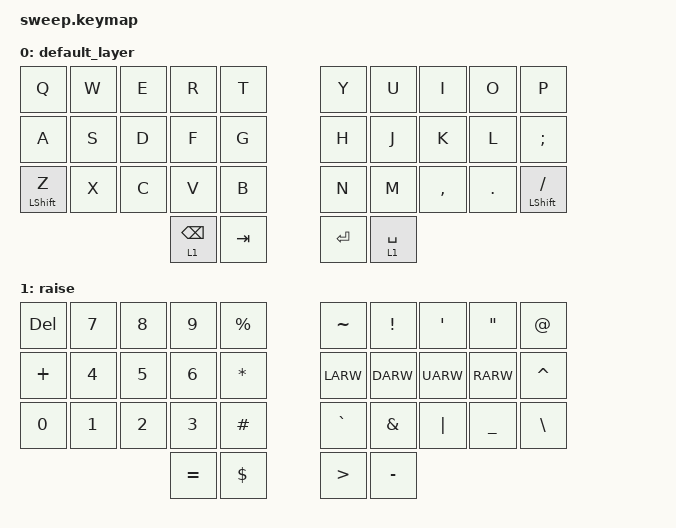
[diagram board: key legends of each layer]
/*
* Copyright (c) 2020 The ZMK Contributors
*
* SPDX-License-Identifier: MIT
*/

#include <behaviors.dtsi>
#include <dt-bindings/zmk/keys.h>
#include <dt-bindings/zmk/bt.h>
#include <dt-bindings/zmk/outputs.h>

&lt { quick_tap_ms = <100>; };

/ {
        combos {
                compatible = "zmk,combos";

                // modifiers
                c_lalt {
                        timeout-ms = <50>;
                        key-positions = <20 21>;
                        bindings = <&sk LALT>;
                };
                c_lgui {
                        timeout-ms = <50>;
                        key-positions = <21 22>;
                        bindings = <&sk LGUI>;
                };
                c_laltgui {
                        timeout-ms = <50>;
                        key-positions = <20 21 22>;
                        bindings = <&sk LA(LGUI)>;
                };
                c_laltshift {
                        timeout-ms = <50>;
                        key-positions = <20 21 23>;
                        bindings = <&sk LA(LSHFT)>;
                };
                c_lctrl {
                        timeout-ms = <50>;
                        key-positions = <12 13>;
                        bindings = <&sk LCTRL>;
                };
                c_ralt {
                        timeout-ms = <50>;
                        key-positions = <28 29>;
                        bindings = <&sk LALT>;
                };
                c_rgui {
                        timeout-ms = <50>;
                        key-positions = <27 28>;
                        bindings = <&sk LGUI>;
                };
                c_raltgui {
                        timeout-ms = <50>;
                        key-positions = <27 28 29>;
                        bindings = <&sk LA(LGUI)>;
                };
                c_raltshift {
                        timeout-ms = <50>;
                        key-positions = <26 28 29>;
                        bindings = <&sk LA(LSHFT)>;
                };
                c_rctrl {
                        timeout-ms = <50>;
                        key-positions = <16 17>;
                        bindings = <&sk LCTRL>;
                };
                c_lmgui {
                        timeout-ms = <50>;
                        key-positions = <11 12>;
                        bindings = <&kp LGUI>;
                };
                // c_lmsft {
                //         timeout-ms = <50>;
                //         key-positions = <11 13>;
                //         bindings = <&kp LSFT>;
                // };
                c_lmalt {
                        timeout-ms = <50>;
                        key-positions = <10 11>;
                        bindings = <&kp LALT>;
                };
                c_lmaltsft {
                        timeout-ms = <50>;
                        key-positions = <10 11 13>;
                        bindings = <&kp LA(LSHFT)>;
                };
                c_lmguisft {
                        timeout-ms = <50>;
                        key-positions = <11 12 13>;
                        bindings = <&kp LS(LGUI)>;
                };
                c_rmgui {
                        timeout-ms = <50>;
                        key-positions = <17 18>;
                        bindings = <&kp LGUI>;
                };
                c_rmalt {
                        timeout-ms = <50>;
                        key-positions = <18 19>;
                        bindings = <&kp LALT>;
                };
                c_rmaltsft {
                        timeout-ms = <50>;
                        key-positions = <16 18 19>;
                        bindings = <&kp LA(LSHFT)>;
                };
                // c_rmsft {
                //         timeout-ms = <50>;
                //         key-positions = <16 18>;
                //         bindings = <&kp LSFT>;
                // };
                c_rmguisft {
                        timeout-ms = <50>;
                        key-positions = <16 17 18>;
                        bindings = <&kp LS(LGUI)>;
                };
                // symbols
                c_LBRC {
                        timeout-ms = <50>;
                        key-positions = <17 27>;
                        bindings = <&kp LBRC>;
                };
                c_RBRC {
                        timeout-ms = <50>;
                        key-positions = <7 17>;
                        bindings = <&kp RBRC>;
                };
                c_LPAR {
                        timeout-ms = <50>;
                        key-positions = <18 28>;
                        bindings = <&kp LPAR>;
                };
                c_RPAR {
                        timeout-ms = <50>;
                        key-positions = <8 18>;
                        bindings = <&kp RPAR>;
                };
                c_LBKT {
                        timeout-ms = <50>;
                        key-positions = <16 26>;
                        bindings = <&kp LBKT>;
                };
                c_RBKT {
                        timeout-ms = <50>;
                        key-positions = <6 16>;
                        bindings = <&kp RBKT>;
                };
                // common shortcuts
                c_AGL {
                        timeout-ms = <50>;
                        key-positions = <1 11>;
                        bindings = <&kp LA(LG(LARW))>;
                };
                c_AGR {
                        timeout-ms = <50>;
                        key-positions = <2 12>;
                        bindings = <&kp LA(LG(RARW))>;
                };
                c_GBL {
                        timeout-ms = <50>;
                        key-positions = <11 21>;
                        bindings = <&kp LG(LBKT)>;
                };
                c_GBR {
                        timeout-ms = <50>;
                        key-positions = <12 22>;
                        bindings = <&kp LG(RBKT)>;
                };
                c_ASU {
                        timeout-ms = <50>;
                        key-positions = <3 13>;
                        bindings = <&kp LA(LS(DARW))>;
                };
                c_ASD {
                        timeout-ms = <50>;
                        key-positions = <13 23>;
                        bindings = <&kp LA(LS(UARW))>;
                };
                // misc
                c_esc {
                        timeout-ms = <50>;
                        key-positions = <12 17>;
                        bindings = <&kp ESCAPE>;
                };
                c_esc_2 {
                        timeout-ms = <50>;
                        key-positions = <15 25>;
                        bindings = <&kp ESCAPE>;
                };
                c_CLR {
                        timeout-ms = <50>;
                        key-positions = <1 2 4>;
                        bindings = <&bt BT_CLR>;
                };
                c_OUT {
                        timeout-ms = <50>;
                        key-positions = <5 6 8>;
                        bindings = <&out OUT_TOG>;
                };
                c_RST {
                        timeout-ms = <50>;
                        key-positions = <1 2 3>;
                        bindings = <&reset>;
                };
                c_CAPSLOCK {
                        timeout-ms = <50>;
                        key-positions = <21 22 23 24>;
                        bindings = <&kp CAPSLOCK>;
                };
                c_T {
                        timeout-ms = <50>;
                        key-positions = <2 3>;
                        bindings = <&kp T>;
                };
                c_Y {
                        timeout-ms = <50>;
                        key-positions = <6 7>;
                        bindings = <&kp Y>;
                };
                c_Q {
                        timeout-ms = <50>;
                        key-positions = <1 2>;
                        bindings = <&kp Q>;
                };
                c_P {
                        timeout-ms = <50>;
                        key-positions = <7 8>;
                        bindings = <&kp P>;
                };
                c_B {
                        timeout-ms = <50>;
                        key-positions = <22 23>;
                        bindings = <&kp B>;
                };
                c_N {
                        timeout-ms = <50>;
                        key-positions = <26 27>;
                        bindings = <&kp N>;
                };
        };

        keymap {
                compatible = "zmk,keymap";

                default_layer {
                        bindings = <
    &kp Q       &kp W        &kp E          &kp R        &kp T          &kp Y    &kp U         &kp I           &kp O       &kp P
    &kp A       &kp S        &kp D          &kp F        &kp G          &kp H    &kp J         &kp K           &kp L       &kp SEMI
    &mt LSHFT Z &kp X        &kp C          &kp V        &kp B          &kp N    &kp M         &kp COMMA       &kp DOT     &mt LSHFT FSLH
                                            &lt 1 BKSP   &kp TAB        &kp RET  &lt 1 SPACE
                        >;
                };

                raise {
                        bindings = <
    &kp DEL     &kp N7      &kp N8       &kp N9      &kp PRCNT          &kp TILDE  &kp EXCL    &kp SQT   &kp DQT     &kp AT
    &kp PLUS    &kp N4      &kp N5       &kp N6      &kp STAR           &kp LARW   &kp DARW    &kp UARW  &kp RARW    &kp CARET
    &kp N0      &kp N1      &kp N2       &kp N3      &kp HASH           &kp GRAVE  &kp AMPS    &kp PIPE  &kp UNDER   &kp BSLH
                                         &kp EQUAL   &kp DLLR           &kp GT     &kp MINUS
                        >;
                };
        };
};
